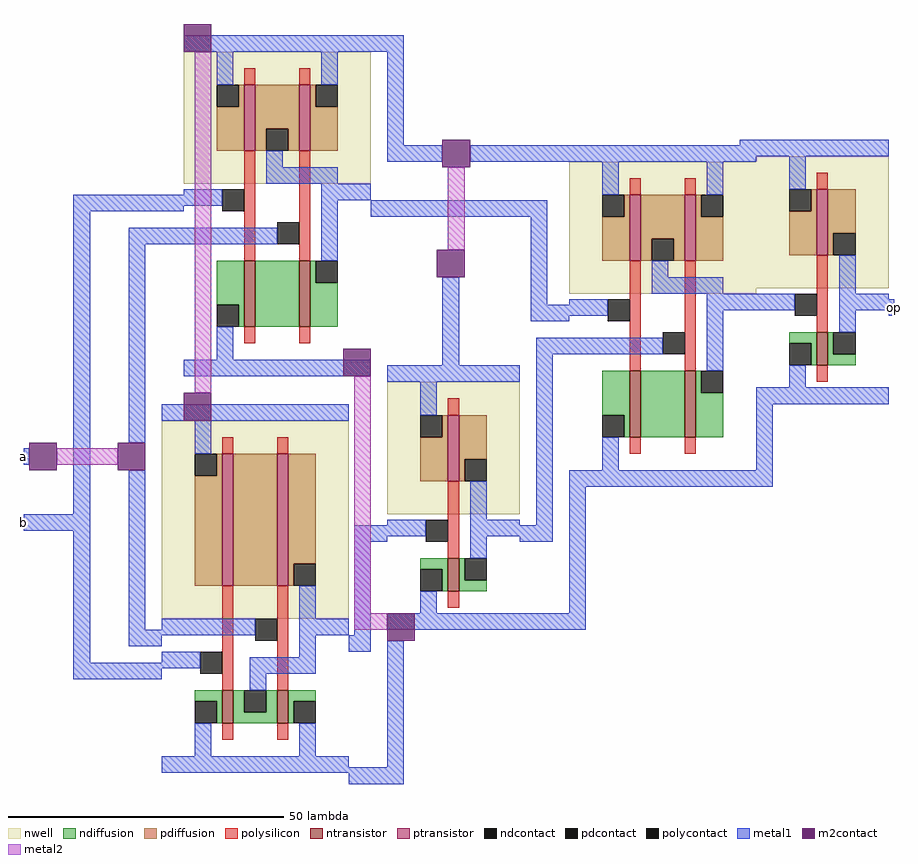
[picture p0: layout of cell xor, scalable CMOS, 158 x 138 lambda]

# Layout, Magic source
magic
tech scmos
<< metal1 >>
rect 29 55 35 58
rect 32 38 35 55
rect 32 35 42 38
rect 96 38 99 39
rect 47 35 65 38
rect -25 26 -5 29
rect -34 -20 -33 -17
rect -25 -29 -22 26
rect 29 25 61 28
rect -15 20 -5 23
rect -15 -16 -12 20
rect 42 -4 45 14
rect 58 9 61 25
rect 58 6 65 9
rect 96 8 99 10
rect 123 7 124 10
rect 59 0 65 3
rect -34 -32 -22 -29
rect -25 -56 -22 -32
rect -15 -50 -12 -21
rect 59 -31 62 0
rect 99 -24 102 -9
rect 26 -34 32 -31
rect 56 -34 62 -31
rect -15 -53 -9 -50
rect 26 -51 29 -34
rect 65 -47 68 -24
rect 25 -54 29 -51
rect 56 -50 68 -47
rect -25 -59 -9 -56
rect 32 -75 35 -52
rect 25 -78 35 -75
<< m2contact >>
rect -5 55 0 60
rect 42 34 47 39
rect -33 -21 -28 -16
rect 41 14 46 19
rect 24 -4 29 1
rect -5 -12 0 -7
rect -17 -21 -12 -16
rect 32 -52 37 -47
<< metal2 >>
rect -3 -7 0 55
rect 43 19 46 34
rect -28 -20 -17 -17
rect 26 -47 29 -4
rect 26 -50 32 -47
use nand  nand_0
transform 1 0 -5 0 1 31
box 0 -35 34 27
use nor  nor_0
transform 1 0 -9 0 1 -48
box 0 -30 34 39
use inv  inv_0
transform 1 0 32 0 1 -35
box 0 -15 24 33
use nand  nand_1
transform 1 0 65 0 1 11
box 0 -35 34 27
use inv  inv_1
transform 1 0 99 0 1 6
box 0 -15 24 33
<< labels >>
rlabel metal1 -34 -32 -34 -29 3 b
rlabel metal1 -34 -20 -34 -17 3 a
rlabel metal1 124 7 124 10 7 op
<< end >>

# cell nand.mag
magic
tech scmos
<< nwell >>
rect 0 0 34 24
<< ntransistor >>
rect 11 -26 13 -14
rect 21 -26 23 -14
<< ptransistor >>
rect 11 6 13 18
rect 21 6 23 18
<< ndiffusion >>
rect 6 -22 11 -14
rect 10 -26 11 -22
rect 13 -26 21 -14
rect 23 -18 24 -14
rect 23 -26 28 -18
<< pdiffusion >>
rect 10 14 11 18
rect 6 6 11 14
rect 13 10 21 18
rect 13 6 15 10
rect 19 6 21 10
rect 23 14 24 18
rect 23 6 28 14
<< ndcontact >>
rect 6 -26 10 -22
rect 24 -18 28 -14
<< pdcontact >>
rect 6 14 10 18
rect 15 6 19 10
rect 24 14 28 18
<< polysilicon >>
rect 11 18 13 21
rect 21 18 23 21
rect 11 -14 13 6
rect 21 -14 23 6
rect 11 -29 13 -26
rect 21 -29 23 -26
<< polycontact >>
rect 7 -5 11 -1
rect 17 -11 21 -7
<< metal1 >>
rect 0 24 34 27
rect 6 18 9 24
rect 25 18 28 24
rect 15 3 18 6
rect 15 0 28 3
rect 0 -4 7 -1
rect 25 -3 34 0
rect 0 -11 17 -8
rect 25 -14 28 -3
rect 6 -32 9 -26
rect 0 -35 34 -32
<< labels >>
rlabel metal1 24 26 24 26 5 vdd!
rlabel metal1 24 -34 24 -34 1 gnd!
rlabel metal1 0 -11 0 -8 3 b
rlabel metal1 0 -4 0 -1 3 a
rlabel metal1 34 -3 34 0 7 out
<< end >>

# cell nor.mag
magic
tech scmos
<< nwell >>
rect 0 0 34 36
<< ntransistor >>
rect 11 -19 13 -13
rect 21 -19 23 -13
<< ptransistor >>
rect 11 6 13 30
rect 21 6 23 30
<< ndiffusion >>
rect 6 -15 11 -13
rect 10 -19 11 -15
rect 13 -17 15 -13
rect 19 -17 21 -13
rect 13 -19 21 -17
rect 23 -15 28 -13
rect 23 -19 24 -15
<< pdiffusion >>
rect 10 26 11 30
rect 6 6 11 26
rect 13 6 21 30
rect 23 10 28 30
rect 23 6 24 10
<< ndcontact >>
rect 6 -19 10 -15
rect 15 -17 19 -13
rect 24 -19 28 -15
<< pdcontact >>
rect 6 26 10 30
rect 24 6 28 10
<< polysilicon >>
rect 11 30 13 33
rect 21 30 23 33
rect 11 -13 13 6
rect 21 -13 23 6
rect 11 -22 13 -19
rect 21 -22 23 -19
<< polycontact >>
rect 7 -10 11 -6
rect 17 -4 21 0
<< metal1 >>
rect 0 36 34 39
rect 6 30 9 36
rect 25 0 28 6
rect 0 -3 17 0
rect 25 -3 34 0
rect 0 -9 7 -6
rect 25 -7 28 -3
rect 16 -10 28 -7
rect 16 -13 19 -10
rect 6 -25 9 -19
rect 25 -25 28 -19
rect 0 -28 34 -25
<< labels >>
rlabel metal1 21 -26 21 -26 1 gnd!
rlabel metal1 18 37 18 37 5 vdd!
rlabel metal1 0 -3 0 0 3 b
rlabel metal1 0 -9 0 -6 3 a
rlabel metal1 34 -3 34 0 7 out
<< end >>

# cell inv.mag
magic
tech scmos
<< nwell >>
rect 0 6 24 30
<< polysilicon >>
rect 11 24 13 27
rect 11 -2 13 12
rect 11 -11 13 -8
<< ndiffusion >>
rect 6 -4 11 -2
rect 10 -8 11 -4
rect 13 -6 14 -2
rect 13 -8 18 -6
<< pdiffusion >>
rect 10 20 11 24
rect 6 12 11 20
rect 13 16 18 24
rect 13 12 14 16
<< metal1 >>
rect 0 30 24 33
rect 6 24 9 30
rect 15 5 18 12
rect 0 2 7 5
rect 15 2 24 5
rect 15 -2 18 2
rect 6 -12 9 -8
rect 0 -15 24 -12
<< ntransistor >>
rect 11 -8 13 -2
<< ptransistor >>
rect 11 12 13 24
<< polycontact >>
rect 7 1 11 5
<< ndcontact >>
rect 6 -8 10 -4
rect 14 -6 18 -2
<< pdcontact >>
rect 6 20 10 24
rect 14 12 18 16
<< labels >>
rlabel metal1 14 31 14 31 5 vdd!
rlabel metal1 24 2 24 5 7 op
rlabel metal1 0 2 0 5 3 in
rlabel metal1 20 -14 20 -14 1 gnd!
<< end >>
